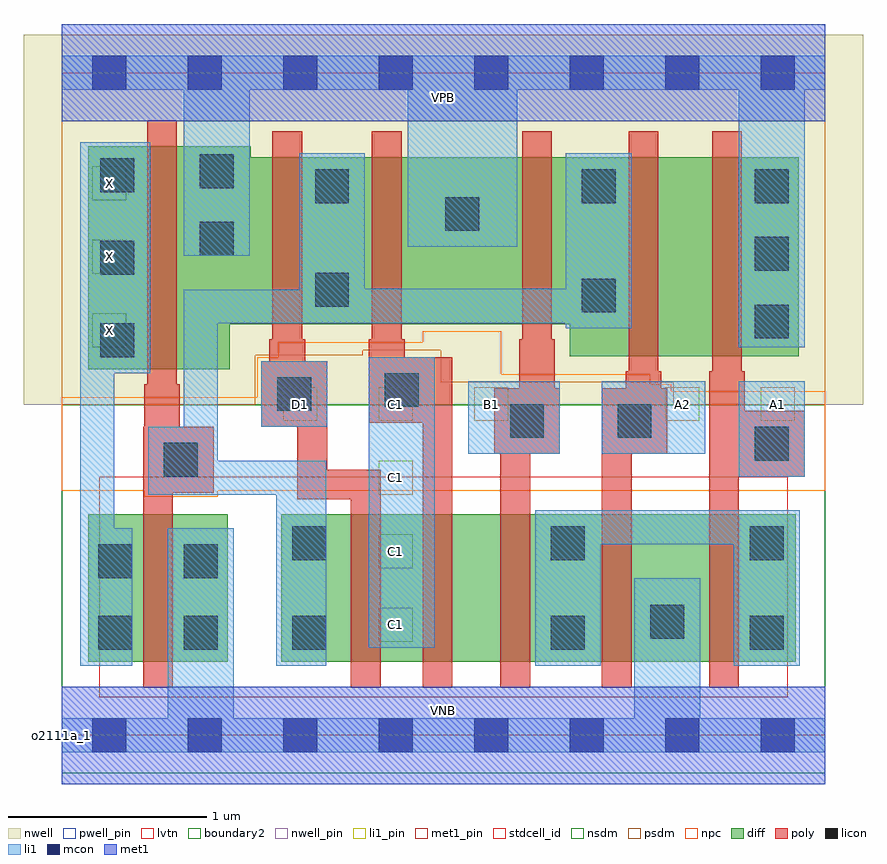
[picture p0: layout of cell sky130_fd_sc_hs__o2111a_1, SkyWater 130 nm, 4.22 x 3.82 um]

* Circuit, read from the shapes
.subckt sky130_fd_sc_hs__o2111a_1 A1 A2 B1 C1 D1 VGND VNB VPB VPWR X
XM1 VGND n1 X VNB sky130_fd_pr__nfet_01v8_lvt w=0.74 l=0.15
XM2 n2 D1 n1 VNB sky130_fd_pr__nfet_01v8_lvt w=0.74 l=0.15
XM3 n3 C1 n2 VNB sky130_fd_pr__nfet_01v8_lvt w=0.74 l=0.15
XM4 n4 B1 n3 VNB sky130_fd_pr__nfet_01v8_lvt w=0.74 l=0.15
XM5 VGND A2 n4 VNB sky130_fd_pr__nfet_01v8_lvt w=0.74 l=0.15
XM6 n4 A1 VGND VNB sky130_fd_pr__nfet_01v8_lvt w=0.74 l=0.15
XM7 VPWR n1 X VPB sky130_fd_pr__pfet_01v8 w=1.12 l=0.15
XM8 n1 D1 VPWR VPB sky130_fd_pr__pfet_01v8 w=0.84 l=0.15
XM9 VPWR C1 n1 VPB sky130_fd_pr__pfet_01v8 w=0.84 l=0.15
XM10 n1 B1 VPWR VPB sky130_fd_pr__pfet_01v8 w=0.84 l=0.15
XM11 n5 A2 n1 VPB sky130_fd_pr__pfet_01v8 w=1 l=0.15
XM12 VPWR A1 n5 VPB sky130_fd_pr__pfet_01v8 w=1 l=0.15
.ends

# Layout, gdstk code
import gdstk
lib = gdstk.Library(unit=1e-6, precision=1e-09)
def R(c, l, rs):  # rectangles x0, y0, x1, y1
    for r in rs: c.add(gdstk.rectangle(r[:2], r[2:], *l))
def A(c, l, x, y, w, h, nx, ny, dx, dy):  # array of equal rectangles
    R(c, l, [(x+i*dx, y+j*dy, x+i*dx+w, y+j*dy+h) for i in range(nx) for j in range(ny)])
def P(c, l, *ps):  # polygons
    for p in ps: c.add(gdstk.Polygon(p, *l))
nwell_pin = (64, 16)
nwell = (64, 20)
diff = (65, 20)
poly = (66, 20)
licon = (66, 44)
li1_pin = (67, 16)
li1 = (67, 20)
mcon = (67, 44)
met1_pin = (68, 16)
met1 = (68, 20)
stdcell_id = (81, 4)
nsdm = (93, 44)
psdm = (94, 20)
npc = (95, 20)
pwell_pin = (122, 16)
lvtn = (125, 44)
boundary2 = (236, 0)

sky130_fd_sc_hs__o2111a_ = lib.new_cell('sky130_fd_sc_hs__o2111a_1')
R(sky130_fd_sc_hs__o2111a_, nwell_pin, [(0,3.085,3.84,3.33)])
R(sky130_fd_sc_hs__o2111a_, nwell, [(-0.19,1.66,4.03,3.52)])
R(sky130_fd_sc_hs__o2111a_, diff, [(0.135,0.37,0.835,1.11), (1.105,0.37,3.69,1.11)])
P(sky130_fd_sc_hs__o2111a_, diff, [(3.705,2.905),(0.95,2.905),(0.95,2.96),(0.135,2.96),(0.135,1.84),(0.845,1.84),(0.845,2.065),(2.555,2.065),(2.555,1.905),(3.705,1.905)])
P(sky130_fd_sc_hs__o2111a_, poly, [(3.735,1.63),(3.435,1.63),(3.435,1.83),(3.42,1.83),(3.42,3.035),(3.27,3.035),(3.27,1.83),(3.255,1.83),(3.255,0.24),(3.405,0.24),(3.405,1.3),(3.735,1.3)],
  [(3.045,1.745),(3.015,1.745),(3.015,1.83),(3,1.83),(3,3.035),(2.85,3.035),(2.85,1.83),(2.835,1.83),(2.835,1.745),(2.715,1.745),(2.715,0.24),(2.865,0.24),(2.865,1.415),(3.045,1.415)],
  [(2.505,1.745),(2.48,1.745),(2.48,1.99),(2.465,1.99),(2.465,3.035),(2.315,3.035),(2.315,1.99),(2.3,1.99),(2.3,1.745),(2.175,1.745),(2.175,1.415),(2.205,1.415),(2.205,0.24),(2.355,0.24),(2.355,1.415),(2.505,1.415)],
  [(1.965,1.9),(1.725,1.9),(1.725,1.99),(1.71,1.99),(1.71,3.035),(1.56,3.035),(1.56,1.99),(1.545,1.99),(1.545,1.57),(1.815,1.57),(1.815,0.24),(1.965,0.24)],
  [(1.605,1.335),(1.335,1.335),(1.335,1.88),(1.225,1.88),(1.225,1.99),(1.21,1.99),(1.21,3.035),(1.06,3.035),(1.06,1.99),(1.045,1.99),(1.045,1.88),(1.005,1.88),(1.005,1.55),(1.185,1.55),(1.185,1.185),(1.455,1.185),(1.455,0.24),(1.605,0.24)],
  [(0.765,1.55),(0.595,1.55),(0.595,1.765),(0.58,1.765),(0.58,3.09),(0.43,3.09),(0.43,1.765),(0.415,1.765),(0.415,1.55),(0.41,1.55),(0.41,0.24),(0.56,0.24),(0.56,1.22),(0.765,1.22)])
A(sky130_fd_sc_hs__o2111a_, licon, 0.195, 1.9, 0.17, 0.17, 1, 3, 0, 0.415)
A(sky130_fd_sc_hs__o2111a_, licon, 3.485, 1.995, 0.17, 0.17, 1, 3, 0, 0.34)
R(sky130_fd_sc_hs__o2111a_, licon, [(0.185,0.43,0.355,0.6), (0.615,0.43,0.785,0.6), (1.16,0.43,1.33,0.6), (2.46,0.43,2.63,0.6), (3.46,0.43,3.63,0.6), (2.96,0.485,3.13,0.655), (0.185,0.79,0.355,0.96), (0.615,0.79,0.785,0.96), (1.16,0.88,1.33,1.05), (2.46,0.88,2.63,1.05), (3.46,0.88,3.63,1.05), (0.515,1.3,0.685,1.47), (3.485,1.38,3.655,1.55), (2.255,1.495,2.425,1.665), (2.795,1.495,2.965,1.665), (1.085,1.63,1.255,1.8), (1.625,1.65,1.795,1.82), (2.615,2.125,2.785,2.295), (1.275,2.155,1.445,2.325), (0.695,2.41,0.865,2.58), (1.93,2.535,2.1,2.705), (1.275,2.675,1.445,2.845), (2.615,2.675,2.785,2.845), (0.695,2.75,0.865,2.92)])
A(sky130_fd_sc_hs__o2111a_, li1_pin, 1.595, 0.47, 0.17, 0.17, 1, 3, 0, 0.37)
A(sky130_fd_sc_hs__o2111a_, li1_pin, 1.115, 1.58, 0.17, 0.17, 3, 1, 0.48, 0)
A(sky130_fd_sc_hs__o2111a_, li1_pin, 0.155, 1.95, 0.17, 0.17, 1, 3, 0, 0.37)
R(sky130_fd_sc_hs__o2111a_, li1_pin, [(3.035,1.58,3.205,1.75), (3.515,1.58,3.685,1.75)])
R(sky130_fd_sc_hs__o2111a_, li1, [(1.545,0.44,1.875,1.9), (3.405,1.3,3.735,1.78), (2.045,1.415,2.505,1.78), (2.715,1.415,3.235,1.78), (1.005,1.55,1.335,1.88)])
P(sky130_fd_sc_hs__o2111a_, li1, [(0,-0.085),(0,0.085),(0.535,0.085),(0.535,1.04),(0.865,1.04),(0.865,0.085),(2.88,0.085),(2.88,0.79),(3.21,0.79),(3.21,0.085),(3.84,0.085),(3.84,-0.085)],
  [(0,3.245),(0,3.415),(3.84,3.415),(3.84,3.245),(3.735,3.245),(3.735,1.95),(3.405,1.95),(3.405,3.245),(2.29,3.245),(2.29,2.455),(1.74,2.455),(1.74,3.245),(0.945,3.245),(0.945,2.41),(0.615,2.41),(0.615,3.245)],
  [(0.095,2.98),(0.445,2.98),(0.445,1.82),(0.265,1.82),(0.265,1.04),(0.355,1.04),(0.355,0.35),(0.095,0.35)],
  [(0.615,2.24),(1.195,2.24),(1.195,2.925),(1.525,2.925),(1.525,2.245),(2.535,2.245),(2.535,2.925),(2.865,2.925),(2.865,2.045),(2.535,2.045),(2.535,2.07),(0.785,2.07),(0.785,1.38),(1.33,1.38),(1.33,0.35),(1.08,0.35),(1.08,1.21),(0.435,1.21),(0.435,1.55),(0.615,1.55)],
  [(3.38,0.96),(2.71,0.96),(2.71,0.35),(2.38,0.35),(2.38,1.13),(3.71,1.13),(3.71,0.35),(3.38,0.35)])
A(sky130_fd_sc_hs__o2111a_, mcon, 0.155, -0.085, 0.17, 0.17, 8, 2, 0.48, 3.33)
R(sky130_fd_sc_hs__o2111a_, met1_pin, [(0,0,3.84,0.245), (0,3.085,3.84,3.33)])
R(sky130_fd_sc_hs__o2111a_, met1, [(0,-0.245,3.84,0.245), (0,3.085,3.84,3.575)])
R(sky130_fd_sc_hs__o2111a_, stdcell_id, [(0,0,3.84,3.33)])
R(sky130_fd_sc_hs__o2111a_, nsdm, [(0,-0.19,3.84,1.66)])
P(sky130_fd_sc_hs__o2111a_, psdm, [(3.84,3.52),(0,3.52),(0,1.66),(0.975,1.66),(0.975,1.91),(1.515,1.91),(1.515,1.935),(1.905,1.935),(1.905,1.775),(3.075,1.775),(3.075,1.66),(3.84,1.66)])
P(sky130_fd_sc_hs__o2111a_, npc, [(3.84,1.73),(3.065,1.73),(3.065,1.765),(2.96,1.765),(2.96,1.815),(2.21,1.815),(2.21,2.03),(1.815,2.03),(1.815,1.975),(1.09,1.975),(1.09,1.9),(0.985,1.9),(0.985,1.7),(0,1.7),(0,1.23),(0.415,1.23),(0.415,1.2),(0.785,1.2),(0.785,1.23),(3.84,1.23)])
R(sky130_fd_sc_hs__o2111a_, pwell_pin, [(0,0,3.84,0.245)])
R(sky130_fd_sc_hs__o2111a_, lvtn, [(0.19,0.19,3.65,1.3)])
R(sky130_fd_sc_hs__o2111a_, boundary2, [(0,0,3.84,3.33)])
sky130_fd_sc_hs__o2111a_.add(gdstk.Label('o2111a_1', (0,0), layer=83, texttype=44))
sky130_fd_sc_hs__o2111a_.add(gdstk.Label('VNB', (1.92,0.123), layer=64, texttype=59))
sky130_fd_sc_hs__o2111a_.add(gdstk.Label('VPB', (1.92,3.208), layer=64, texttype=5))
sky130_fd_sc_hs__o2111a_.add(gdstk.Label('VPWR', (1.92,3.208), layer=68, texttype=5))
sky130_fd_sc_hs__o2111a_.add(gdstk.Label('VGND', (1.92,0.123), layer=68, texttype=5))
sky130_fd_sc_hs__o2111a_.add(gdstk.Label('A1', (3.6,1.665), layer=67, texttype=5))
sky130_fd_sc_hs__o2111a_.add(gdstk.Label('A2', (3.12,1.665), layer=67, texttype=5))
sky130_fd_sc_hs__o2111a_.add(gdstk.Label('B1', (2.16,1.665), layer=67, texttype=5))
sky130_fd_sc_hs__o2111a_.add(gdstk.Label('C1', (1.68,0.555), layer=67, texttype=5))
sky130_fd_sc_hs__o2111a_.add(gdstk.Label('C1', (1.68,0.925), layer=67, texttype=5))
sky130_fd_sc_hs__o2111a_.add(gdstk.Label('C1', (1.68,1.295), layer=67, texttype=5))
sky130_fd_sc_hs__o2111a_.add(gdstk.Label('C1', (1.68,1.665), layer=67, texttype=5))
sky130_fd_sc_hs__o2111a_.add(gdstk.Label('D1', (1.2,1.665), layer=67, texttype=5))
sky130_fd_sc_hs__o2111a_.add(gdstk.Label('X', (0.24,2.035), layer=67, texttype=5))
sky130_fd_sc_hs__o2111a_.add(gdstk.Label('X', (0.24,2.405), layer=67, texttype=5))
sky130_fd_sc_hs__o2111a_.add(gdstk.Label('X', (0.24,2.775), layer=67, texttype=5))

lib.write_gds('sky130_fd_sc_hs__o2111a_1.gds')
